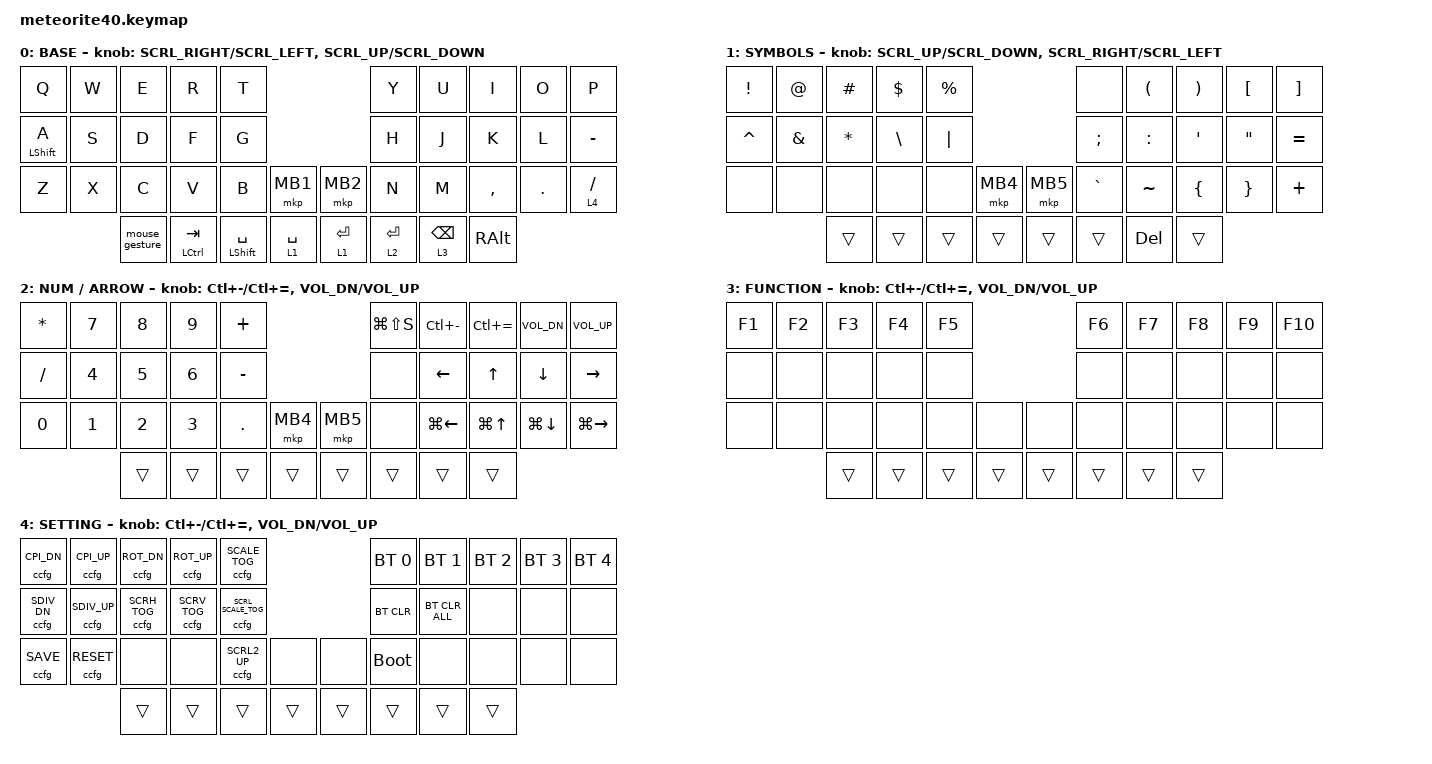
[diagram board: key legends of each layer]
#include <behaviors.dtsi>
#include <dt-bindings/zmk/bt.h>
#include <dt-bindings/zmk/keys.h>

#include <behaviors/meteorite_custom_key.dtsi>
#include <behaviors/custom_config.dtsi>
#include <behaviors/meteorite_bt_os.dtsi>
#include <behaviors/meteorite_mod_key.dtsi>
#include <behaviors/meteorite_os_key.dtsi>
#include <dt-bindings/zmk/custom_config.h>
#include <dt-bindings/zmk/meteorite_custom_keys.h>
#include <dt-bindings/zmk/meteorite_bt_os.h>

#define ZMK_POINTING_DEFAULT_SCRL_VAL 200
#include <dt-bindings/zmk/pointing.h>

&mt { 
    flavor = "tap-preferred"; // change hold to tap
    tapping-term-ms = <200>;
    quick-tap-ms = <150>; // change 200 to 150
};

&lt {
    flavor = "tap-preferred";
    tapping-term-ms = <150>; // change 200 to 150
    quick-tap-ms = <150>; // change 200 to 150
};

/ { 
    behaviors {
        mouse_scroll_var: mouse_scroll_var {
            compatible = "zmk,behavior-sensor-rotate-var";
            #sensor-binding-cells = <2>;
            bindings = <&msc>, <&msc>;
            tap-ms = <25>;
        };

        mck_mt: mck_mt {
            compatible = "zmk,behavior-hold-tap";
            #binding-cells = <2>;
            flavor = "tap-preferred";
            tapping-term-ms = <150>;
            bindings = <&mck>, <&kp>;
            display-name = "meteorite OS-Switch-mod-tap";
        };

        mck_mt_st: mck_mt_st {
            compatible = "zmk,behavior-hold-tap";
            #binding-cells = <2>;
            flavor = "tap-preferred";
            tapping-term-ms = <150>;
            bindings = <&mck>, <&alt_cmd_tab>;
            display-name = "meteorite OS-Switch-mod-tap (smart toggle)";
        };

        alt_cmd_tab: alt_cmd_tab {
            compatible = "zmk,behavior-smart-toggle";
            #binding-cells = <0>;
            display-name = "meteorite Smart toggle (Alt/Cmd+Tab)";
            bindings = <&mck M_OS_ALT_CMD>, <&kp TAB>;
            position-bindings = <12 13>; /* D, F */
            position-binding-behaviors = <&kp LS(TAB)>, <&kp TAB>;
        };
    };

    combos {
        compatible = "zmk,combos";

       combo_mouse_gester {
            bindings = <&mouse_gesture>;
            key-positions = <1 2>;
            timeout-ms = <50>;
		};

        lang1 {
            bindings = <&kp LANG1>;
            key-positions = <12 13>; /* D + F */
            layers = <0>;
        };

        lang2 {
            bindings = <&kp LANG2>;
            key-positions = <16 17>; /* J + K */
            layers = <0>;
        };

        esc {
            bindings = <&kp ESCAPE>;
            key-positions = <20 21>; /* Z + X */
            layers = <0>;
        };

        tab {
            bindings = <&kp TAB>;
            key-positions = <0 1>; /* Q + W */
            layers = <0>;
        };

        line_home {
            bindings = <&mosk HOME LG(LEFT)>;
            key-positions = <16 17>; /* J + K (on layer 2) */
            layers = <2>;
        };

        line_end {
            bindings = <&mosk END LG(RIGHT)>;
            key-positions = <18 19>; /* L + - (on layer 2) */
            layers = <2>;
        };

        doc_home {
            bindings = <&mosk LC(HOME) LG(UP)>;
            key-positions = <16 18>; /* J + L (on layer 2) */
            layers = <2>;
        };

        doc_end {
            bindings = <&mosk LC(END) LG(DOWN)>;
            key-positions = <17 19>; /* K + - (on layer 2) */
            layers = <2>;
        };
    };

    keymap {
        compatible = "zmk,keymap";
        layout = &LAYOUT_2U_SPACE;

        win_default_layer {
            display-name = "BASE";
            bindings = <
                &kp Q        &kp W       &kp E        &kp R        &kp T                                 &kp Y        &kp U       &kp I       &kp O  &kp P
                &mt LSHIFT A &kp S       &kp D        &kp F        &kp G                                 &kp H        &kp J       &kp K       &kp L  &kp MINUS
                &kp Z        &kp X       &kp C        &kp V        &kp B        &mkp MB1     &mkp MB2    &kp N        &kp M       &kp COMMA   &kp DOT  &lt 4 SLASH
                                    &mouse_gesture  &mt LCTRL TAB  &mt LSHIFT SPACE  &lt 1 SPACE  &lt 1 ENTER  &lt 2 ENTER  &lt 3 BSPC  &kp RALT
            >;

            sensor-bindings =
                <&mouse_scroll_var SCRL_RIGHT SCRL_LEFT>, // RE0(左): 時計回/右スクロール、反時計回/左スクロール
                <&mouse_scroll_var SCRL_UP SCRL_DOWN>;    // RE1(右): 時計回/上スクロール、反時計回/下スクロール

                //<&inc_dec_kp LC(MINUS) LC(EQUAL)>, // RE0: ctrl + - / +,,,
                //<&inc_dec_kp C_VOL_DN C_VOL_UP>; // RE1: volume down/up
        };

        layer_1 {
            display-name = "SYMBOLS";
            bindings = <
                &kp EXCL   &kp AT    &kp HASH  &kp DLLR  &kp PRCNT                       &none      &kp LPAR   &kp RPAR   &kp LBKT   &kp RBKT
                &kp CARET  &kp AMPS  &kp STAR  &kp BSLH  &kp PIPE                        &kp SEMI   &kp COLON  &kp SQT    &kp DQT    &kp EQUAL
                &none      &none     &none     &none     &none      &mkp MB4  &mkp MB5   &kp GRAVE  &kp TILDE  &kp LBRC   &kp RBRC   &kp PLUS
                                     &trans     &trans    &trans    &trans    &trans     &trans    &kp DEL     &trans
            >;

            sensor-bindings =
                <&mouse_scroll_var SCRL_UP SCRL_DOWN>   , // RE1(右): 時計回/上スクロール、反時計回/下スクロール
                <&mouse_scroll_var SCRL_RIGHT SCRL_LEFT>; // RE0(左): 時計回/右スクロール、反時計回/左スクロール
                
                //<&inc_dec_kp LC(MINUS) LC(EQUAL)>, // RE0: ctrl + - / +,,,
                //<&inc_dec_kp C_VOL_DN C_VOL_UP>; // RE1: volume down/up
        };

        layer_2 {
            display-name = "NUM / ARROW";
            bindings = <
                &kp ASTRK        &kp N7     &kp N8     &kp N9     &kp PLUS                        &kp LG(LS(S)) &kp LC(MINUS) &kp LC(EQUAL) &kp C_VOL_DN &kp C_VOL_UP
                &kp SLASH        &kp N4     &kp N5     &kp N6     &kp MINUS                       &none         &kp LEFT      &kp UP        &kp DOWN     &kp RIGHT
                &kp N0           &kp N1     &kp N2     &kp N3     &kp DOT   &mkp MB4   &mkp MB5   &none         &kp LG(LEFT)  &kp LG(UP)    &kp LG(DOWN) &kp LG(RIGHT)
                                        &trans           &trans     &trans     &trans    &trans        &trans  &trans    &trans
            >;

            sensor-bindings =
                <&inc_dec_kp LC(MINUS) LC(EQUAL)>, // RE0: ctrl + - / +,,,
                <&inc_dec_kp C_VOL_DN C_VOL_UP>; // RE1: volume down/up

        };

        layer_3 {
            display-name = "FUNCTION";
            bindings = <
                &kp F1  &kp F2  &kp F3  &kp F4  &kp F5                  &kp F6  &kp F7  &kp F8  &kp F9  &kp F10
                &none   &none   &none   &none   &none                   &none   &none   &none   &none   &none
                &none   &none   &none   &none   &none   &none   &none   &none   &none   &none    &none  &none
                                &trans  &trans  &trans  &trans  &trans  &trans  &trans  &trans
            >;

            sensor-bindings =
                <&inc_dec_kp LC(MINUS) LC(EQUAL)>, // RE0: ctrl + - / +,,,
                <&inc_dec_kp C_VOL_DN C_VOL_UP>; // RE1: volume down/up

        };
        layer_4 {
			display-name = "SETTING";
			bindings = <
				&ccfg C_CPI_DN  &ccfg C_CPI_UP  &ccfg C_ROT_DN   &ccfg C_ROT_UP   &ccfg C_SCALE_TOG                     &bt BT_SEL 0   &bt BT_SEL 1    &bt BT_SEL 2  &bt BT_SEL 3  &bt BT_SEL 4
				&ccfg C_SDIV_DN &ccfg C_SDIV_UP &ccfg C_SCRH_TOG &ccfg C_SCRV_TOG &ccfg C_SCRL_SCALE_TOG                &bt BT_CLR     &bt BT_CLR_ALL  &none         &none         &none
				&ccfg C_SAVE    &ccfg C_RESET   &none           &none             &ccfg C_SCRL2_UP        &none  &none  &bootloader    &none         &none         &none         &none
												                            &trans       &trans  &trans  &trans  &trans  &trans    &trans        &trans
			>;

            sensor-bindings =
                <&inc_dec_kp LC(MINUS) LC(EQUAL)>, // RE0: ctrl + - / +,,,
                <&inc_dec_kp C_VOL_DN C_VOL_UP>; // RE1: volume down/up
        };
    };
};
